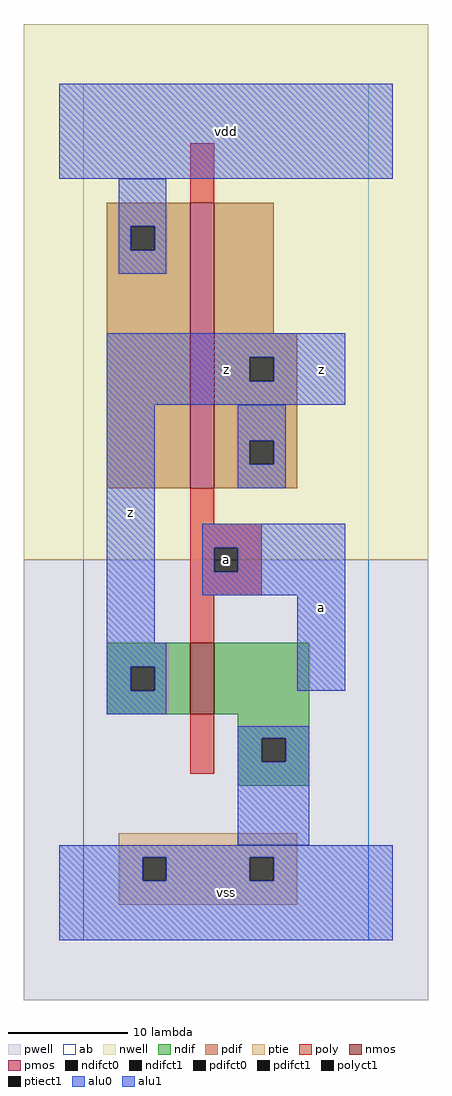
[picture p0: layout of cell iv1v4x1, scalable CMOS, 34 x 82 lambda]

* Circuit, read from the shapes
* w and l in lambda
.subckt iv1v4x1 a vdd vss z
M1 vss a z vss nfet w=6 l=2
M2 z a vdd n1 pfet w=24 l=2
.ends

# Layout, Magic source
magic
tech scmos
<< ab >>
rect 0 0 24 72
<< nwell >>
rect -5 32 29 77
<< pwell >>
rect -5 -5 29 32
<< poly >>
rect 9 62 11 67
rect 9 35 11 38
rect 9 33 15 35
rect 9 31 11 33
rect 13 31 15 33
rect 9 29 15 31
rect 9 25 11 29
rect 9 14 11 19
<< ndif >>
rect 2 23 9 25
rect 2 21 4 23
rect 6 21 9 23
rect 2 19 9 21
rect 11 19 19 25
rect 13 17 19 19
rect 13 15 15 17
rect 17 15 19 17
rect 13 13 19 15
<< pdif >>
rect 2 60 9 62
rect 2 58 4 60
rect 6 58 9 60
rect 2 38 9 58
rect 11 51 16 62
rect 11 49 18 51
rect 11 47 14 49
rect 16 47 18 49
rect 11 42 18 47
rect 11 40 14 42
rect 16 40 18 42
rect 11 38 18 40
<< alu1 >>
rect -2 64 26 72
rect 2 49 22 51
rect 2 47 14 49
rect 16 47 22 49
rect 2 45 22 47
rect 2 25 6 45
rect 10 33 22 35
rect 10 31 11 33
rect 13 31 22 33
rect 10 29 22 31
rect 2 23 7 25
rect 2 21 4 23
rect 6 21 7 23
rect 18 21 22 29
rect 2 19 7 21
rect -2 7 26 8
rect -2 5 5 7
rect 7 5 14 7
rect 16 5 26 7
rect -2 0 26 5
<< ptie >>
rect 3 7 18 9
rect 3 5 5 7
rect 7 5 14 7
rect 16 5 18 7
rect 3 3 18 5
<< nmos >>
rect 9 19 11 25
<< pmos >>
rect 9 38 11 62
<< polyct1 >>
rect 11 31 13 33
<< ndifct0 >>
rect 15 15 17 17
<< ndifct1 >>
rect 4 21 6 23
<< ptiect1 >>
rect 5 5 7 7
rect 14 5 16 7
<< pdifct0 >>
rect 4 58 6 60
rect 14 40 16 42
<< pdifct1 >>
rect 14 47 16 49
<< alu0 >>
rect 3 60 7 64
rect 3 58 4 60
rect 6 58 7 60
rect 3 56 7 58
rect 13 42 17 45
rect 13 40 14 42
rect 16 40 17 42
rect 13 38 17 40
rect 13 17 19 18
rect 13 15 15 17
rect 17 15 19 17
rect 13 8 19 15
<< labels >>
rlabel alu1 4 36 4 36 6 z
rlabel alu1 12 4 12 4 6 vss
rlabel polyct1 12 32 12 32 6 a
rlabel alu1 12 48 12 48 6 z
rlabel alu1 12 68 12 68 6 vdd
rlabel alu1 20 28 20 28 6 a
rlabel alu1 20 48 20 48 6 z
<< end >>
